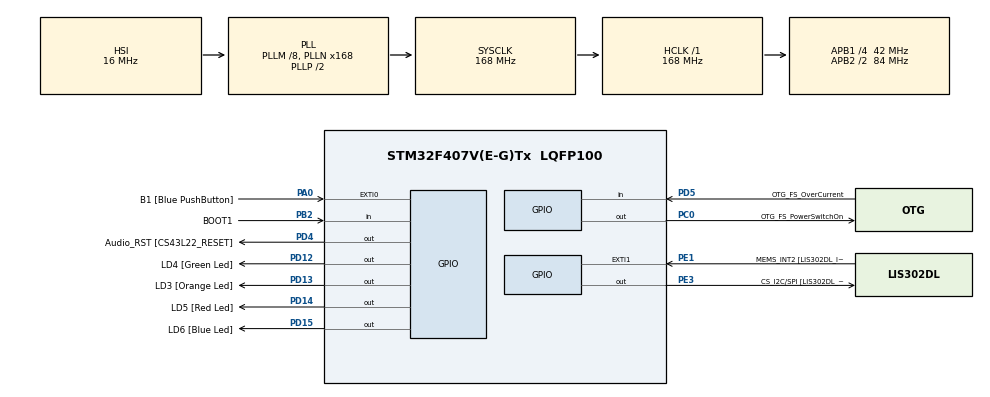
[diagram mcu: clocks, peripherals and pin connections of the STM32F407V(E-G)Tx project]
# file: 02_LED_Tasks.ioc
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Mcu.Family=STM32F4
Mcu.Name=STM32F407V(E-G)Tx
Mcu.Package=LQFP100
NVIC.PriorityGroup=NVIC_PRIORITYGROUP_4
NVIC.TIM6_DAC_IRQn=true\:0\:0\:false\:false\:true\:false\:true\:true
NVIC.TimeBase=TIM6_DAC_IRQn
NVIC.TimeBaseIP=TIM6
PA0-WKUP.GPIO_Label=B1 [Blue PushButton]
PA0-WKUP.Signal=GPXTI0
PA10.GPIO_Label=OTG_FS_ID
PA10.GPIO_Mode=GPIO_MODE_AF_PP
PA10.GPIO_PuPd=GPIO_NOPULL
PA10.GPIO_Speed=GPIO_SPEED_FREQ_LOW
PA10.Signal=USB_OTG_FS_ID
PA11.GPIO_Label=OTG_FS_DM
PA11.GPIO_Mode=GPIO_MODE_AF_PP
PA11.GPIO_PuPd=GPIO_NOPULL
PA11.GPIO_Speed=GPIO_SPEED_FREQ_LOW
PA11.Signal=USB_OTG_FS_DM
PA12.GPIO_Label=OTG_FS_DP
PA12.GPIO_Mode=GPIO_MODE_AF_PP
PA12.GPIO_PuPd=GPIO_NOPULL
PA12.GPIO_Speed=GPIO_SPEED_FREQ_LOW
PA12.Signal=USB_OTG_FS_DP
PA13.GPIO_Label=SWDIO
PA13.Signal=SYS_JTMS-SWDIO
PA14.GPIO_Label=SWCLK
PA14.Signal=SYS_JTCK-SWCLK
PA4.GPIO_Label=I2S3_WS [CS43L22_LRCK]
PA4.GPIO_Mode=GPIO_MODE_AF_PP
PA4.GPIO_PuPd=GPIO_NOPULL
PA4.GPIO_Speed=GPIO_SPEED_FREQ_LOW
PA4.Signal=I2S3_WS
PA5.GPIO_Label=SPI1_SCK [LIS302DL_SCL/SPC]
PA5.GPIO_Mode=GPIO_MODE_AF_PP
PA5.GPIO_PuPd=GPIO_NOPULL
PA5.GPIO_Speed=GPIO_SPEED_FREQ_LOW
PA5.Signal=SPI1_SCK
PA6.GPIO_Label=SPI1_MISO [LIS302DL_SDO]
PA6.GPIO_Mode=GPIO_MODE_AF_PP
PA6.GPIO_PuPd=GPIO_NOPULL
PA6.GPIO_Speed=GPIO_SPEED_FREQ_LOW
PA6.Signal=SPI1_MISO
PA7.GPIO_Label=SPI1_MOSI [LIS302DL_SDA/SDI/SDO]
PA7.GPIO_Mode=GPIO_MODE_AF_PP
PA7.GPIO_PuPd=GPIO_NOPULL
PA7.GPIO_Speed=GPIO_SPEED_FREQ_LOW
PA7.Signal=SPI1_MOSI
PA9.GPIO_Label=VBUS_FS
PA9.GPIO_Mode=GPIO_MODE_INPUT
PA9.GPIO_PuPd=GPIO_NOPULL
PA9.Signal=USB_OTG_FS_VBUS
PB10.GPIO_Label=CLK_IN [MP45DT02_CLK]
PB10.GPIO_Mode=GPIO_MODE_AF_PP
PB10.GPIO_PuPd=GPIO_NOPULL
PB10.GPIO_Speed=GPIO_SPEED_FREQ_LOW
PB10.Signal=I2S2_CK
PB2.GPIO_Label=BOOT1
PB2.GPIO_Mode=GPIO_MODE_INPUT
PB2.GPIO_PuPd=GPIO_NOPULL
PB2.Signal=GPIO_Input
PB3.GPIO_Label=SWO
PB3.Signal=SYS_JTDO-SWO
PB6.GPIO_Label=Audio_SCL [CS43L22_SCL]
PB6.GPIO_Mode=GPIO_MODE_AF_OD
PB6.GPIO_PuPd=GPIO_NOPULL
PB6.GPIO_Speed=GPIO_SPEED_FREQ_LOW
PB6.Signal=I2C1_SCL
PB9.GPIO_Label=Audio_SDA [CS43L22_SDA]
PB9.GPIO_Mode=GPIO_MODE_AF_OD
PB9.GPIO_PuPd=GPIO_NOPULL
PB9.GPIO_Speed=GPIO_SPEED_FREQ_LOW
PB9.Signal=I2C1_SDA
PC0.GPIO_Label=OTG_FS_PowerSwitchOn
PC0.GPIO_PuPd=GPIO_NOPULL
PC0.GPIO_Speed=GPIO_SPEED_FREQ_LOW
PC0.PinState=GPIO_PIN_SET
PC0.Signal=GPIO_Output
PC10.GPIO_Label=I2S3_SCK [CS43L22_SCLK]
PC10.GPIO_Mode=GPIO_MODE_AF_PP
PC10.GPIO_PuPd=GPIO_NOPULL
PC10.GPIO_Speed=GPIO_SPEED_FREQ_LOW
PC10.Signal=I2S3_CK
PC12.GPIO_Label=I2S3_SD [CS43L22_SDIN]
PC12.GPIO_Mode=GPIO_MODE_AF_PP
PC12.GPIO_PuPd=GPIO_NOPULL
PC12.GPIO_Speed=GPIO_SPEED_FREQ_LOW
PC12.Signal=I2S3_SD
PC14-OSC32_IN.GPIO_Label=PC14-OSC32_IN
PC14-OSC32_IN.Signal=RCC_OSC32_IN
PC15-OSC32_OUT.GPIO_Label=PC15-OSC32_OUT
PC15-OSC32_OUT.Signal=RCC_OSC32_OUT
PC3.GPIO_Label=PDM_OUT [MP45DT02_DOUT]
PC3.GPIO_Mode=GPIO_MODE_AF_PP
PC3.GPIO_PuPd=GPIO_NOPULL
PC3.GPIO_Speed=GPIO_SPEED_FREQ_LOW
PC3.Signal=I2S2_SD
PC7.GPIO_Label=I2S3_MCK [CS43L22_MCLK]
PC7.GPIO_Mode=GPIO_MODE_AF_PP
PC7.GPIO_PuPd=GPIO_NOPULL
PC7.GPIO_Speed=GPIO_SPEED_FREQ_LOW
PC7.Signal=I2S3_MCK
PD12.GPIO_Label=LD4 [Green Led]
PD12.GPIO_PuPd=GPIO_NOPULL
PD12.GPIO_Speed=GPIO_SPEED_FREQ_LOW
PD12.Signal=GPIO_Output
PD13.GPIO_Label=LD3 [Orange Led]
PD13.GPIO_PuPd=GPIO_NOPULL
PD13.GPIO_Speed=GPIO_SPEED_FREQ_LOW
PD13.Signal=GPIO_Output
PD14.GPIO_Label=LD5 [Red Led]
PD14.GPIO_PuPd=GPIO_NOPULL
PD14.GPIO_Speed=GPIO_SPEED_FREQ_LOW
PD14.Signal=GPIO_Output
PD15.GPIO_Label=LD6 [Blue Led]
PD15.GPIO_PuPd=GPIO_NOPULL
PD15.GPIO_Speed=GPIO_SPEED_FREQ_LOW
PD15.Signal=GPIO_Output
PD4.GPIO_Label=Audio_RST [CS43L22_RESET]
PD4.GPIO_PuPd=GPIO_NOPULL
PD4.GPIO_Speed=GPIO_SPEED_FREQ_LOW
PD4.Signal=GPIO_Output
PD5.GPIO_Label=OTG_FS_OverCurrent
PD5.GPIO_Mode=GPIO_MODE_INPUT
PD5.GPIO_PuPd=GPIO_NOPULL
PD5.Signal=GPIO_Input
PE1.GPIO_Label=MEMS_INT2 [LIS302DL_INT2]
PE1.GPIO_ModeDefaultEXTI=GPIO_MODE_EVT_RISING
PE1.GPIO_PuPd=GPIO_NOPULL
PE1.Signal=GPXTI1
PE3.GPIO_Label=CS_I2C/SPI [LIS302DL_CS_I2C/SPI]
PE3.GPIO_PuPd=GPIO_NOPULL
PE3.GPIO_Speed=GPIO_SPEED_FREQ_LOW
PE3.Signal=GPIO_Output
PH0-OSC_IN.GPIO_Label=PH0-OSC_IN
PH0-OSC_IN.Signal=RCC_OSC_IN
PH1-OSC_OUT.GPIO_Label=PH1-OSC_OUT
PH1-OSC_OUT.Signal=RCC_OSC_OUT
ProjectManager.HeapSize=0x200
ProjectManager.StackSize=0x400
ProjectManager.TargetToolchain=STM32CubeIDE
RCC.48MHZClocksFreq_Value=48000000
RCC.AHBFreq_Value=168000000
RCC.APB1CLKDivider=RCC_HCLK_DIV4
RCC.APB1Freq_Value=42000000
RCC.APB1TimFreq_Value=84000000
RCC.APB2CLKDivider=RCC_HCLK_DIV2
RCC.APB2Freq_Value=84000000
RCC.APB2TimFreq_Value=168000000
RCC.CortexFreq_Value=168000000
RCC.HCLKFreq_Value=168000000
RCC.HSE_VALUE=8000000
RCC.HSI_VALUE=16000000
RCC.LSE_VALUE=32768
RCC.PLLM=8
RCC.PLLN=168
RCC.PLLQ=7
RCC.SYSCLKFreq_VALUE=168000000
RCC.SYSCLKSource=RCC_SYSCLKSOURCE_PLLCLK
RCC.VCOOutputFreq_Value=336000000
VP_SYS_VS_tim6.Mode=TIM6
board=STM32F407G-DISC1

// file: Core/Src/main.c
/* USER CODE BEGIN Header */
/**
  ******************************************************************************
  * @file           : main.c
  * @brief          : Main program body
  ******************************************************************************
  * @attention
  *
  * Copyright (c) 2023 STMicroelectronics.
  * All rights reserved.
  *
  * This software is licensed under terms that can be found in the LICENSE file
  * in the root directory of this software component.
  * If no LICENSE file comes with this software, it is provided AS-IS.
  *
  ******************************************************************************
  */
/* USER CODE END Header */
#include "main.h"

/* USER CODE BEGIN Includes */
#include "FreeRTOS.h"
#include "task.h"
/* USER CODE END Includes */

/* USER CODE BEGIN PV */
#define DWT_CTRL	(*(uint32_t volatile *)0xE0001000)
/* USER CODE END PV */

void SystemClock_Config(void);
static void MX_GPIO_Init(void);
/* USER CODE BEGIN PFP */
static void led_green_task_handler(void *parameters);
static void led_orange_task_handler(void *parameters);
static void led_red_task_handler(void *parameters);

extern void SEGGER_UART_init(uint32_t);
/* USER CODE END PFP */

int main(void)
{
  /* USER CODE BEGIN 1 */
  TaskHandle_t led_green_task_handle;
  TaskHandle_t led_orange_task_handle;
  TaskHandle_t led_red_task_handle;

  BaseType_t status;	// Stores the return value of xTaskCreate()
  /* USER CODE END 1 */

  /* MCU Configuration--------------------------------------------------------*/

  /* Reset of all peripherals, Initializes the Flash interface and the Systick. */
  HAL_Init();

  /* Configure the system clock */
  SystemClock_Config();

  /* Initialize all configured peripherals */
  MX_GPIO_Init();
  /* USER CODE BEGIN 2 */

  // Enable the cycle counter
  DWT_CTRL |= (0x1 << 0);	// Set SYCCNTENA bit of DWT_CYCCNT register

  // Initialize UART with desired baudrate for SEGGER SystemView with UART-based recording
  SEGGER_UART_init(500000);

  // Start the SEGGER SystemView recording of events
  SEGGER_SYSVIEW_Conf();
  //SEGGER_SYSVIEW_Start(); // This function will be called from ThirdParty/Rec/segger_uart.c

  // Create LED_Green_Task and make sure that the task creation was successful
  status = xTaskCreate(led_green_task_handler, "LED_Green_Task", 200, NULL, 2, &led_green_task_handle);
  configASSERT(status == pdPASS);

  // Create LED_Orange_Task and make sure that the task creation was successful
  status = xTaskCreate(led_orange_task_handler, "LED_Orange_Task", 200, NULL, 2, &led_orange_task_handle);
  configASSERT(status == pdPASS);

  // Create LED_Red_Task and make sure that the task creation was successful
  status = xTaskCreate(led_red_task_handler, "LED_red_Task", 200, NULL, 2, &led_red_task_handle);
  configASSERT(status == pdPASS);

  // Start FreeRTOS scheduler
  // vTaskStartScheduler() never returns unless there's a problem launching scheduler
  vTaskStartScheduler();

  // This line will only be reached if the kernel could not be started because there was
  // not enough FreeRTOS heap to create the idle task or the timer task.
  /* USER CODE END 2 */

  /* Infinite loop */
  while (1)
  {

  }
}

void SystemClock_Config(void)
{
  RCC_OscInitTypeDef RCC_OscInitStruct = {0};
  RCC_ClkInitTypeDef RCC_ClkInitStruct = {0};

  /** Configure the main internal regulator output voltage
  */
  __HAL_RCC_PWR_CLK_ENABLE();
  __HAL_PWR_VOLTAGESCALING_CONFIG(PWR_REGULATOR_VOLTAGE_SCALE1);

  /** Initializes the RCC Oscillators according to the specified parameters
  * in the RCC_OscInitTypeDef structure.
  */
  RCC_OscInitStruct.OscillatorType = RCC_OSCILLATORTYPE_HSI;
  RCC_OscInitStruct.HSIState = RCC_HSI_ON;
  RCC_OscInitStruct.HSICalibrationValue = RCC_HSICALIBRATION_DEFAULT;
  RCC_OscInitStruct.PLL.PLLState = RCC_PLL_ON;
  RCC_OscInitStruct.PLL.PLLSource = RCC_PLLSOURCE_HSI;
  RCC_OscInitStruct.PLL.PLLM = 8;
  RCC_OscInitStruct.PLL.PLLN = 168;
  RCC_OscInitStruct.PLL.PLLP = RCC_PLLP_DIV2;
  RCC_OscInitStruct.PLL.PLLQ = 7;
  if (HAL_RCC_OscConfig(&RCC_OscInitStruct) != HAL_OK)
  {
    Error_Handler();
  }

  /** Initializes the CPU, AHB and APB buses clocks
  */
  RCC_ClkInitStruct.ClockType = RCC_CLOCKTYPE_HCLK|RCC_CLOCKTYPE_SYSCLK
                              |RCC_CLOCKTYPE_PCLK1|RCC_CLOCKTYPE_PCLK2;
  RCC_ClkInitStruct.SYSCLKSource = RCC_SYSCLKSOURCE_PLLCLK;
  RCC_ClkInitStruct.AHBCLKDivider = RCC_SYSCLK_DIV1;
  RCC_ClkInitStruct.APB1CLKDivider = RCC_HCLK_DIV4;
  RCC_ClkInitStruct.APB2CLKDivider = RCC_HCLK_DIV2;

  if (HAL_RCC_ClockConfig(&RCC_ClkInitStruct, FLASH_LATENCY_5) != HAL_OK)
  {
    Error_Handler();
  }
}

static void MX_GPIO_Init(void)
{
  GPIO_InitTypeDef GPIO_InitStruct = {0};

  /* GPIO Ports Clock Enable */
  __HAL_RCC_GPIOE_CLK_ENABLE();
  __HAL_RCC_GPIOC_CLK_ENABLE();
  __HAL_RCC_GPIOH_CLK_ENABLE();
  __HAL_RCC_GPIOA_CLK_ENABLE();
  __HAL_RCC_GPIOB_CLK_ENABLE();
  __HAL_RCC_GPIOD_CLK_ENABLE();

  /*Configure GPIO pin Output Level */
  HAL_GPIO_WritePin(CS_I2C_SPI_GPIO_Port, CS_I2C_SPI_Pin, GPIO_PIN_RESET);

  /*Configure GPIO pin Output Level */
  HAL_GPIO_WritePin(OTG_FS_PowerSwitchOn_GPIO_Port, OTG_FS_PowerSwitchOn_Pin, GPIO_PIN_SET);

  /*Configure GPIO pin Output Level */
  HAL_GPIO_WritePin(GPIOD, LD4_Pin|LD3_Pin|LD5_Pin|LD6_Pin
                          |Audio_RST_Pin, GPIO_PIN_RESET);

  /*Configure GPIO pin : CS_I2C_SPI_Pin */
  GPIO_InitStruct.Pin = CS_I2C_SPI_Pin;
  GPIO_InitStruct.Mode = GPIO_MODE_OUTPUT_PP;
  GPIO_InitStruct.Pull = GPIO_NOPULL;
  GPIO_InitStruct.Speed = GPIO_SPEED_FREQ_LOW;
  HAL_GPIO_Init(CS_I2C_SPI_GPIO_Port, &GPIO_InitStruct);

  /*Configure GPIO pin : OTG_FS_PowerSwitchOn_Pin */
  GPIO_InitStruct.Pin = OTG_FS_PowerSwitchOn_Pin;
  GPIO_InitStruct.Mode = GPIO_MODE_OUTPUT_PP;
  GPIO_InitStruct.Pull = GPIO_NOPULL;
  GPIO_InitStruct.Speed = GPIO_SPEED_FREQ_LOW;
  HAL_GPIO_Init(OTG_FS_PowerSwitchOn_GPIO_Port, &GPIO_InitStruct);

  /*Configure GPIO pin : PDM_OUT_Pin */
  GPIO_InitStruct.Pin = PDM_OUT_Pin;
  GPIO_InitStruct.Mode = GPIO_MODE_AF_PP;
  GPIO_InitStruct.Pull = GPIO_NOPULL;
  GPIO_InitStruct.Speed = GPIO_SPEED_FREQ_LOW;
  GPIO_InitStruct.Alternate = GPIO_AF5_SPI2;
  HAL_GPIO_Init(PDM_OUT_GPIO_Port, &GPIO_InitStruct);

  /*Configure GPIO pin : B1_Pin */
  GPIO_InitStruct.Pin = B1_Pin;
  GPIO_InitStruct.Mode = GPIO_MODE_IT_RISING;
  GPIO_InitStruct.Pull = GPIO_NOPULL;
  HAL_GPIO_Init(B1_GPIO_Port, &GPIO_InitStruct);

  /*Configure GPIO pin : I2S3_WS_Pin */
  GPIO_InitStruct.Pin = I2S3_WS_Pin;
  GPIO_InitStruct.Mode = GPIO_MODE_AF_PP;
  GPIO_InitStruct.Pull = GPIO_NOPULL;
  GPIO_InitStruct.Speed = GPIO_SPEED_FREQ_LOW;
  GPIO_InitStruct.Alternate = GPIO_AF6_SPI3;
  HAL_GPIO_Init(I2S3_WS_GPIO_Port, &GPIO_InitStruct);

  /*Configure GPIO pins : SPI1_SCK_Pin SPI1_MISO_Pin SPI1_MOSI_Pin */
  GPIO_InitStruct.Pin = SPI1_SCK_Pin|SPI1_MISO_Pin|SPI1_MOSI_Pin;
  GPIO_InitStruct.Mode = GPIO_MODE_AF_PP;
  GPIO_InitStruct.Pull = GPIO_NOPULL;
  GPIO_InitStruct.Speed = GPIO_SPEED_FREQ_LOW;
  GPIO_InitStruct.Alternate = GPIO_AF5_SPI1;
  HAL_GPIO_Init(GPIOA, &GPIO_InitStruct);

  /*Configure GPIO pin : BOOT1_Pin */
  GPIO_InitStruct.Pin = BOOT1_Pin;
  GPIO_InitStruct.Mode = GPIO_MODE_INPUT;
  GPIO_InitStruct.Pull = GPIO_NOPULL;
  HAL_GPIO_Init(BOOT1_GPIO_Port, &GPIO_InitStruct);

  /*Configure GPIO pin : CLK_IN_Pin */
  GPIO_InitStruct.Pin = CLK_IN_Pin;
  GPIO_InitStruct.Mode = GPIO_MODE_AF_PP;
  GPIO_InitStruct.Pull = GPIO_NOPULL;
  GPIO_InitStruct.Speed = GPIO_SPEED_FREQ_LOW;
  GPIO_InitStruct.Alternate = GPIO_AF5_SPI2;
  HAL_GPIO_Init(CLK_IN_GPIO_Port, &GPIO_InitStruct);

  /*Configure GPIO pins : LD4_Pin LD3_Pin LD5_Pin LD6_Pin
                           Audio_RST_Pin */
  GPIO_InitStruct.Pin = LD4_Pin|LD3_Pin|LD5_Pin|LD6_Pin
                          |Audio_RST_Pin;
  GPIO_InitStruct.Mode = GPIO_MODE_OUTPUT_PP;
  GPIO_InitStruct.Pull = GPIO_NOPULL;
  GPIO_InitStruct.Speed = GPIO_SPEED_FREQ_LOW;
  HAL_GPIO_Init(GPIOD, &GPIO_InitStruct);

  /*Configure GPIO pins : I2S3_MCK_Pin I2S3_SCK_Pin I2S3_SD_Pin */
  GPIO_InitStruct.Pin = I2S3_MCK_Pin|I2S3_SCK_Pin|I2S3_SD_Pin;
  GPIO_InitStruct.Mode = GPIO_MODE_AF_PP;
  GPIO_InitStruct.Pull = GPIO_NOPULL;
  GPIO_InitStruct.Speed = GPIO_SPEED_FREQ_LOW;
  GPIO_InitStruct.Alternate = GPIO_AF6_SPI3;
  HAL_GPIO_Init(GPIOC, &GPIO_InitStruct);

  /*Configure GPIO pin : VBUS_FS_Pin */
  GPIO_InitStruct.Pin = VBUS_FS_Pin;
  GPIO_InitStruct.Mode = GPIO_MODE_INPUT;
  GPIO_InitStruct.Pull = GPIO_NOPULL;
  HAL_GPIO_Init(VBUS_FS_GPIO_Port, &GPIO_InitStruct);

  /*Configure GPIO pins : OTG_FS_ID_Pin OTG_FS_DM_Pin OTG_FS_DP_Pin */
  GPIO_InitStruct.Pin = OTG_FS_ID_Pin|OTG_FS_DM_Pin|OTG_FS_DP_Pin;
  GPIO_InitStruct.Mode = GPIO_MODE_AF_PP;
  GPIO_InitStruct.Pull = GPIO_NOPULL;
  GPIO_InitStruct.Speed = GPIO_SPEED_FREQ_LOW;
  GPIO_InitStruct.Alternate = GPIO_AF10_OTG_FS;
  HAL_GPIO_Init(GPIOA, &GPIO_InitStruct);

  /*Configure GPIO pin : OTG_FS_OverCurrent_Pin */
  GPIO_InitStruct.Pin = OTG_FS_OverCurrent_Pin;
  GPIO_InitStruct.Mode = GPIO_MODE_INPUT;
  GPIO_InitStruct.Pull = GPIO_NOPULL;
  HAL_GPIO_Init(OTG_FS_OverCurrent_GPIO_Port, &GPIO_InitStruct);

  /*Configure GPIO pins : Audio_SCL_Pin Audio_SDA_Pin */
  GPIO_InitStruct.Pin = Audio_SCL_Pin|Audio_SDA_Pin;
  GPIO_InitStruct.Mode = GPIO_MODE_AF_OD;
  GPIO_InitStruct.Pull = GPIO_NOPULL;
  GPIO_InitStruct.Speed = GPIO_SPEED_FREQ_LOW;
  GPIO_InitStruct.Alternate = GPIO_AF4_I2C1;
  HAL_GPIO_Init(GPIOB, &GPIO_InitStruct);

  /*Configure GPIO pin : MEMS_INT2_Pin */
  GPIO_InitStruct.Pin = MEMS_INT2_Pin;
  GPIO_InitStruct.Mode = GPIO_MODE_EVT_RISING;
  GPIO_InitStruct.Pull = GPIO_NOPULL;
  HAL_GPIO_Init(MEMS_INT2_GPIO_Port, &GPIO_InitStruct);

}

/* USER CODE BEGIN 4 */

static void led_green_task_handler(void *parameters)
{
	while (1)
	{
		SEGGER_SYSVIEW_PrintfTarget("Toggling green LED");
		HAL_GPIO_TogglePin(GPIOD, LED_GREEN_PIN);
		HAL_Delay(1000);	// Blocking delay (Keeps the processor engaged in a while loop)
							// Later will be replaced by the non-blocking delay.
	}
}
static void led_orange_task_handler(void *parameters)
{
	while (1)
	{
		SEGGER_SYSVIEW_PrintfTarget("Toggling orange LED");
		HAL_GPIO_TogglePin(GPIOD, LED_ORANGE_PIN);
		HAL_Delay(800);	// Blocking delay (Keeps the processor engaged in a while loop)
							// Later will be replaced by the non-blocking delay.
	}
}

static void led_red_task_handler(void *parameters)
{
	while (1)
	{
		SEGGER_SYSVIEW_PrintfTarget("Toggling red LED");
		HAL_GPIO_TogglePin(GPIOD, LED_RED_PIN);
		HAL_Delay(400);	// Blocking delay (Keeps the processor engaged in a while loop)
							// Later will be replaced by the non-blocking delay.
	}
}

/* USER CODE END 4 */

void HAL_TIM_PeriodElapsedCallback(TIM_HandleTypeDef *htim)
{
  if (htim->Instance == TIM6) {
    HAL_IncTick();
  }
}

void Error_Handler(void)
{
  __disable_irq();
  while (1)
  {
  }
}
